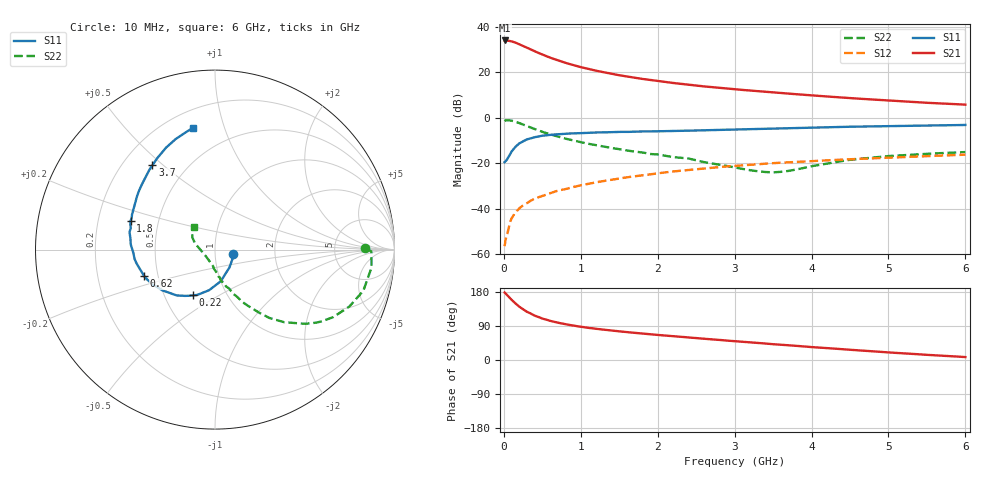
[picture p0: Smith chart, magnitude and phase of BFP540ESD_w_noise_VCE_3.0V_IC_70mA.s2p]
! Infineon Technologies  Discrete & RF Semiconductors
! BFP540ESD
! VCE =  3.0 V,  IC =  70 mA
! Common Emitter S-Parameters:  Nov 2015
# GHz  S  MA  R  50
!  f  S11  S21  S12  S22
! GHz  MAG  ANG  MAG  ANG  MAG  ANG  MAG  ANG
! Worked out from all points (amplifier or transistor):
!   210 points, 10 MHz to 6 GHz, reference 50 ohm
!   highest |S21| = 33.9 dB at 10 MHz (marker M1)
!   |S21| within 3 dB of that: start of sweep to 288.7 MHz
!   unconditionally stable (mu >= 1): start of sweep to 32.38 MHz; 1.113 GHz to end of sweep
!   at 185 MHz: K = 0.47, MSG = 36.5 dB, |S12| = -40.4 dB
!   at 1.52 GHz: K = 1.06, MAG = 21.0 dB, |S12| = -26.6 dB
!   at 6 GHz: K = 1.12, MAG = 8.9 dB, |S12| = -16.3 dB
!   lowest NFmin = 2.19 dB at 900 MHz
!   S11 on the Smith chart (normalised r, x): 10 MHz: 1.23, -0.06; 220 MHz: 0.69, -0.38; 620 MHz: 0.42, -0.15; 1.8 GHz: 0.34, +0.14; 3.7 GHz: 0.32, +0.46; 6 GHz: 0.31, +0.79
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0.01  0.1049 -13.8  49.48 178.0  0.0015 117.5  0.8374 0.5
0.05  0.1277 -50.7  49.2 169.6  0.003 87.7  0.8779 -6.5
0.1  0.1795 -79.7  47.38 159.0  0.0061 83.9  0.8578 -15.5
0.15  0.2284 -98.2  44.51 149.3  0.0082 77.2  0.813 -23.0
0.2  0.271 -111.3  41.09 140.8  0.0101 72.9  0.7589 -29.7
0.22  0.2827 -115.7  39.62 138.0  0.0108 71.4  0.7368 -31.8
0.26  0.3085 -123.3  36.9 132.3  0.0122 69.5  0.6945 -35.9
0.3  0.3328 -129.9  34.32 127.2  0.0132 69.3  0.6514 -39.4
0.4  0.3706 -142.2  28.6 117.1  0.0166 66.4  0.5606 -46.3
0.5  0.4005 -151.6  24.25 109.3  0.019 65.6  0.4865 -51.5
0.62  0.4215 -159.7  20.21 102.5  0.0222 66.4  0.4197 -55.5
0.7  0.4308 -164.6  18.14 98.5  0.0248 66.7  0.3838 -58.0
0.8  0.4429 -169.7  15.96 94.3  0.0269 66.5  0.3452 -61.1
1.02  0.4567 -178.3  12.61 87.2  0.0331 65.8  0.2841 -65.5
1.4  0.4799 170.6  9.171 77.8  0.0432 64.5  0.2146 -73.4
1.8  0.4967 161.4  7.077 69.8  0.054 62.5  0.1721 -79.6
2.02  0.5023 156.7  6.29 65.8  0.0605 60.6  0.153 -82.3
3.1  0.5508 136.4  4.058 48.2  0.0893 51.2  0.0748 -110.9
3.7  0.5848 126.6  3.364 38.9  0.1043 45.4  0.0675 -161.5
4.1  0.6074 120.9  2.993 32.8  0.1129 41.8  0.0913 173.5
5.1  0.656 108.8  2.323 18.8  0.1341 32.3  0.1463 149.7
6  0.6891 100.3  1.927 7.7  0.1532 25.0  0.175 132.8
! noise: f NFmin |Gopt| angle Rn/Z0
0.9  2.19  0.56  -140  0.19
1.8  2.37  0.58  -141  0.19
2.4  2.45  0.6  -131  0.27
3  2.62  0.61  -121  0.38
4  2.73  0.68  -101  0.74
5  2.88  0.76  -86  1.12
6  3.49  0.68  -82  1.8
